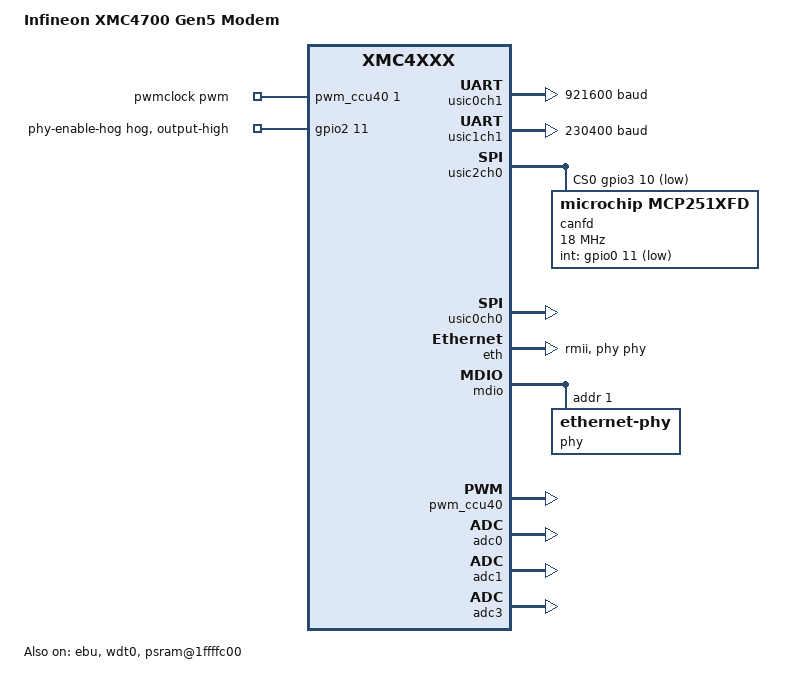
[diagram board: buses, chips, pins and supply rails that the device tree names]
/*
 * SPDX-License-Identifier: Apache-2.0
 *
 * Copyright (c) 2022 Schlumberger
 *
 */

/dts-v1/;

#include <infineon/xmc4700_F144x2048.dtsi>
#include "gen5_modem-pinctrl.dtsi"
#include <infineon/xmc4700_F144x2048-intc.dtsi>
#include <zephyr/dt-bindings/dma/infineon-xmc4xxx-dma.h>
#include <zephyr/dt-bindings/pwm/pwm.h>
#include <zephyr/dt-bindings/memory-controller/infineon-xmc4xxx-ebu.h>

/ {
	model = "Infineon XMC4700 Gen5 Modem";
	compatible = "infineon,xmc4700", "infineon,xmc4xxx";

	chosen {
		zephyr,sram = &dsram_joined;
		zephyr,flash = &flash0;
		zephyr,flash-controller = &flash_controller;
		zephyr,canbus = &canfd;
		zephyr,code-partition = &boot_partition;
		zephyr,uart-pipe = &usic1ch1;
		zephyr,boot-mode = &retention0;
	};

	aliases {
		modb-uart = &usic0ch1;
		plc-uart = &usic1ch1;
		temp-sensor = &die_temp;
		watchdog0 = &wdt0;
		spi-flash0 = &flashspi;
	};

	pwmclock: pwmclock {
		status = "okay";
		compatible = "pwm-clock";
		#clock-cells = <1>;
		clock-frequency = <12000000>;
		pwm-on-delay = <10000>;
		pwms = <&pwm_ccu40 1 PWM_HZ(12000000) PWM_POLARITY_NORMAL>;
	};

	plc: plc {
		status = "disabled";
		compatible = "maxim,max79356-plc";
		ext-mac-address = [00 00 00 00 00 00 00 aa];
		multicast-group = <0x8000>;
		broadcast-group = <0x8fff>;
		short-address = <0x0000>;
		pan-id = [40 21];
		hw-reset-gpios = <&gpio4 7 0>;
		hw-prog-gpios = <&gpio0 12 0>;
	};

	psram@1ffffc00 {
		compatible = "zephyr,memory-region", "mmio-sram";
		reg = <0x1ffffc00 DT_SIZE_K(1)>;
		zephyr,memory-region = "RetainedMem";
		status = "okay";

		retainedmem {
			compatible = "zephyr,retained-ram";
			status = "okay";
			#address-cells = <1>;
			#size-cells = <1>;

			retention0: retention@0 {
				compatible = "zephyr,retention";
				status = "okay";
				reg = <0x0 0x1>;
			};
		};
	};
};

&psram1 {
	compatible = "zephyr,memory-region", "mmio-sram";
	zephyr,memory-region = "PSRAM1";
	reg = <0x1ffe8000 DT_SIZE_K(95)>;
};

&usic0ch1 {
	compatible = "infineon,xmc4xxx-uart";
	current-speed = <921600>;
	interrupts = <84 1 85 1>;
	interrupt-names = "tx", "rx";
	dmas = <&dma0 0 0 XMC4XXX_SET_CONFIG(0,10)>, <&dma0 1 0 XMC4XXX_SET_CONFIG(2,11)>;
	dma-names = "tx", "rx";
	pinctrl-0 = <&uart_tx_p3_13_u0c1 &uart_rx_p6_3_u0c1>;
	pinctrl-names = "default";
	input-src = "DX0C";
	fifo-start-offset = <0>;
	fifo-tx-size = <0>;
	fifo-rx-size = <0>;
	dir-gpios = <&gpio5 4 0>;
	status = "okay";
};

&usic1ch1 {
	compatible = "infineon,xmc4xxx-uart";
	current-speed = <230400>;
	interrupts = <90 1 91 1>;
	interrupt-names = "tx", "rx";
	dmas = <&dma0 2 0 XMC4XXX_SET_CONFIG(1,11)>, <&dma0 3 0 XMC4XXX_SET_CONFIG(3,12)>;
	dma-names = "tx", "rx";
	pinctrl-0 = <&uart_tx_p3_15_u1c1 &uart_rx_p3_14_u1c1>;
	pinctrl-names = "default";
	input-src = "DX0B";
	fifo-start-offset = <0>;
	fifo-tx-size = <0>;
	fifo-rx-size = <0>;
	status = "okay";
};

&dma0 {
	status = "okay";
};

&dma1 {
	status = "okay";
};

&cpu0 {
	clock-frequency = <144000000>;
};

&flash0 {
	partitions {
		compatible = "fixed-partitions";
		#address-cells = <1>;
		#size-cells = <1>;

		boot_partition: partition@0 {
			reg = <0x00000000 0x0001c0000>;
			read-only;
		};
	};
};

&usic2ch0 {
	compatible = "infineon,xmc4xxx-spi";
	pinctrl-0 = <&spi_mosi_p3_8_u2c0 &spi_miso_p3_7_u2c0 &spi_sclk_p3_9_u2c0>;
	pinctrl-names = "default";
	miso-src = "DX0C";
	cs-gpios = <&gpio3 10 GPIO_ACTIVE_LOW>;
	status = "okay";
	interrupts = <96 1 97 1>;
	interrupt-names = "tx", "rx";

	dmas = <&dma1 0 0 XMC4XXX_SET_CONFIG(8,6)>, <&dma1 1 0 XMC4XXX_SET_CONFIG(9,6)>;
	dma-names = "tx", "rx";

	#address-cells = <1>;
	#size-cells = <0>;

	canfd: mcp251xfd@0 {
		compatible = "microchip,mcp251xfd";
		spi-max-frequency = <18000000>;
		int-gpios = <&gpio0 11 GPIO_ACTIVE_LOW>;
		status = "okay";
		reg = <0x0>;
		osc-freq = <40000000>;
		sof-on-clko;
		bus-speed = <500000>;
		bus-speed-data = <2000000>;
		sample-point = <800>;
		sample-point-data = <800>;
	};
};

&usic0ch0 {
	status = "okay";
	compatible = "infineon,xmc4xxx-spi";
	pinctrl-0 = <&spi_mosi_p1_5_u0c0 &spi_miso_p1_4_u0c0 &spi_sclk_p1_1_u0c0>;
	pinctrl-names = "default";
	cs-gpios = <&gpio4 5 GPIO_ACTIVE_LOW &gpio1 0 GPIO_ACTIVE_LOW>;
	miso-src = "DX0B";

	#address-cells = <1>;
	#size-cells = <0>;
	interrupts = <86 1 87 1>;
	interrupt-names = "tx", "rx";

	/* temp sensor is currently not working on the revAD board becuase of the FPGA */
	/* spi conflict */
	temp_sensor_adt7310: temp_sensor@0 {
		status = "disabled";
		compatible = "adi,adt7310";
		spi-max-frequency = <1000000>;
		reg = <0x0>;
	};

	flashspi: flashspi@1 {
		status = "disabled";
		compatible = "jedec,spi-nor";
		size = <DT_SIZE_M(16)>;
		jedec-id = [bf 25 41];
		page-size = <1>;
		has-lock = <0x1c>;
		reg = <1>;
		spi-max-frequency = <1000000>;
	};
};

&ebu {
	status = "okay";
	pinctrl-0 = <
		&ebu_p0_2_ad0
		&ebu_p0_3_ad1
		&ebu_p0_4_ad2
		&ebu_p0_5_ad3
		&ebu_p3_5_ad4
		&ebu_p3_6_ad5
		&ebu_p0_7_ad6
		&ebu_p0_8_ad7
		&ebu_p4_0_ad8
		&ebu_p4_1_ad9
		&ebu_p1_6_ad10
		&ebu_p1_7_ad11
		&ebu_p1_8_ad12
		&ebu_p1_9_ad13
		&ebu_p1_2_ad14
		&ebu_p1_3_ad15
		&ebu_p1_12_ad16
		&ebu_p0_6_adv
		&ebu_p3_0_rd
		&ebu_p3_1_rd_nwr
		&ebu_p3_2_cs0
		&ebu_p0_9_cs1
		&ebu_p5_8_cs2
		&ebu_p5_9_cs3
	>;
	pinctrl-names = "default";
	clock-divider = <1>;
	modes-config = <XMC4XXX_EBU_SET_MODCON(1, 0, 0, 3, 0, 0)>;
	gpio-control-config = <XMC4XXX_EBU_SET_USERCON(0x1ff, 0)>;
};

&eth {
	status = "okay";
	pinctrl-0 = <&eth_p5_3_rxer &eth_p2_2_rxd0 &eth_p2_3_rxd1
		     &eth_p6_5_clk_rmii &eth_p5_2_crs_dv &eth_p2_5_tx_en
		     &eth_p2_8_txd0 &eth_p2_9_txd1>;
	pinctrl-names = "default";

	rxer-port-ctrl = "P5_3";
	rxd0-port-ctrl = "P2_2";
	rxd1-port-ctrl = "P2_3";
	rmii-rx-clk-port-ctrl = "P6_5";
	crs-rx-dv-port-ctrl = "P5_2";

	phy-connection-type = "rmii";
	phy-handle = <&phy>;
};

&mdio {
	status = "okay";
	mdi-port-ctrl = "P1_11";
	pinctrl-0 = <&eth_p1_11_mdo &eth_p1_10_mdc>;
	pinctrl-names = "default";

	phy: ethernet-phy@1 {
		status = "okay";
		compatible = "ethernet-phy";
		reg = <1>;
	};
};

&gpio0 {
    status = "okay";
};

&gpio1 {
    status = "okay";
};

&gpio2 {
	status = "okay";
	phy-enable-hog {
		gpio-hog;
		gpios = <11 GPIO_ACTIVE_HIGH>;
		output-high;
	};
};

&gpio3 {
    status = "okay";
};

&gpio4 {
    status = "okay";
};

&pwm_ccu40 {
	status = "okay";
	slice-prescaler = <0 0 0 0>;
	pinctrl-0 = <&pwm_out_p0_14_ccu40_ch1>;
	pinctrl-names = "default";
};

&adc0 {
	vref-internal-mv = <5000>;
	status = "okay";
};

&adc1 {
	vref-internal-mv = <5000>;
	status = "okay";
};

&adc3 {
	vref-internal-mv = <5000>;
	status = "okay";
};

&wdt0 {
	status = "okay";
};
